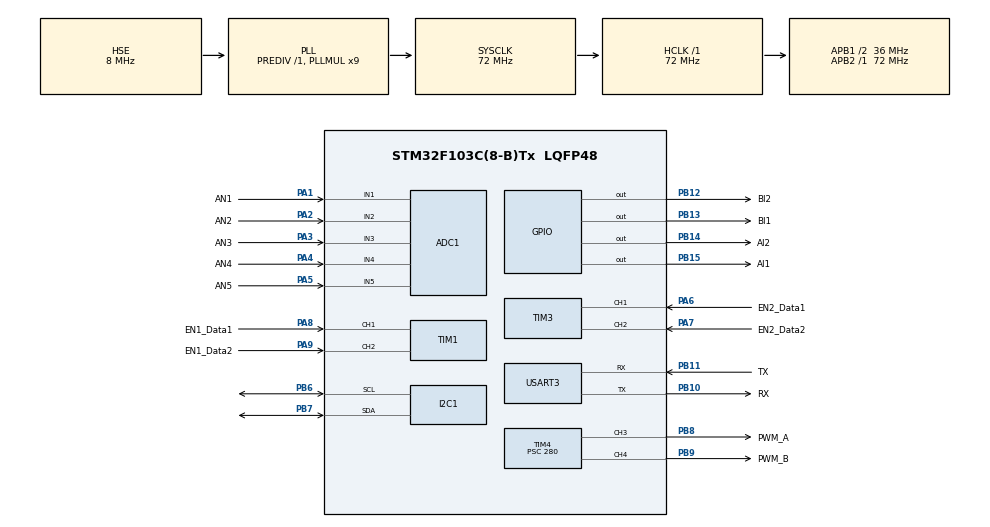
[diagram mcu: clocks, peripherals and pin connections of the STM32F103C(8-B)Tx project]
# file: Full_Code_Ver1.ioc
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ADC1.Channel-0\#ChannelRegularConversion=ADC_CHANNEL_1
ADC1.Channel-1\#ChannelRegularConversion=ADC_CHANNEL_2
ADC1.Channel-2\#ChannelRegularConversion=ADC_CHANNEL_3
ADC1.Channel-3\#ChannelRegularConversion=ADC_CHANNEL_4
ADC1.Channel-4\#ChannelRegularConversion=ADC_CHANNEL_5
ADC1.ContinuousConvMode=ENABLE
ADC1.NbrOfConversion=5
ADC1.NbrOfConversionFlag=1
ADC1.Rank-0\#ChannelRegularConversion=1
ADC1.Rank-1\#ChannelRegularConversion=2
ADC1.Rank-2\#ChannelRegularConversion=3
ADC1.Rank-3\#ChannelRegularConversion=4
ADC1.Rank-4\#ChannelRegularConversion=5
ADC1.SamplingTime-0\#ChannelRegularConversion=ADC_SAMPLETIME_13CYCLES_5
ADC1.SamplingTime-1\#ChannelRegularConversion=ADC_SAMPLETIME_13CYCLES_5
ADC1.SamplingTime-2\#ChannelRegularConversion=ADC_SAMPLETIME_13CYCLES_5
ADC1.SamplingTime-3\#ChannelRegularConversion=ADC_SAMPLETIME_13CYCLES_5
ADC1.SamplingTime-4\#ChannelRegularConversion=ADC_SAMPLETIME_13CYCLES_5
ADC1.master=1
Dma.ADC1.0.Direction=DMA_PERIPH_TO_MEMORY
Dma.ADC1.0.Instance=DMA1_Channel1
Dma.ADC1.0.MemDataAlignment=DMA_MDATAALIGN_HALFWORD
Dma.ADC1.0.MemInc=DMA_MINC_ENABLE
Dma.ADC1.0.Mode=DMA_CIRCULAR
Dma.ADC1.0.PeriphDataAlignment=DMA_PDATAALIGN_HALFWORD
Dma.ADC1.0.PeriphInc=DMA_PINC_DISABLE
Dma.ADC1.0.Priority=DMA_PRIORITY_LOW
Dma.Request0=ADC1
I2C1.I2C_Mode=I2C_Fast
Mcu.Family=STM32F1
Mcu.Name=STM32F103C(8-B)Tx
Mcu.Package=LQFP48
NVIC.DMA1_Channel1_IRQn=true\:0\:0\:false\:false\:true\:false\:true\:true
NVIC.PriorityGroup=NVIC_PRIORITYGROUP_4
NVIC.TIM2_IRQn=true\:0\:0\:false\:false\:true\:true\:true\:true
PA1.GPIO_Label=AN1
PA1.Signal=ADCx_IN1
PA13.Mode=Serial_Wire
PA13.Signal=SYS_JTMS-SWDIO
PA14.Mode=Serial_Wire
PA14.Signal=SYS_JTCK-SWCLK
PA2.GPIO_Label=AN2
PA2.Signal=ADCx_IN2
PA3.GPIO_Label=AN3
PA3.Signal=ADCx_IN3
PA4.GPIO_Label=AN4
PA4.Signal=ADCx_IN4
PA5.GPIO_Label=AN5
PA5.Signal=ADCx_IN5
PA6.GPIO_Label=EN2_Data1
PA6.Signal=S_TIM3_CH1
PA7.GPIO_Label=EN2_Data2
PA7.Signal=S_TIM3_CH2
PA8.GPIO_Label=EN1_Data1
PA8.Signal=S_TIM1_CH1
PA9.GPIO_Label=EN1_Data2
PA9.Signal=S_TIM1_CH2
PB10.GPIO_Label=RX
PB10.Mode=Asynchronous
PB10.Signal=USART3_TX
PB11.GPIO_Label=TX
PB11.Mode=Asynchronous
PB11.Signal=USART3_RX
PB12.GPIO_Label=BI2
PB12.Signal=GPIO_Output
PB13.GPIO_Label=BI1
PB13.Signal=GPIO_Output
PB14.GPIO_Label=AI2
PB14.Signal=GPIO_Output
PB15.GPIO_Label=AI1
PB15.Signal=GPIO_Output
PB6.Mode=I2C
PB6.Signal=I2C1_SCL
PB7.Mode=I2C
PB7.Signal=I2C1_SDA
PB8.GPIO_Label=PWM_A
PB8.Signal=S_TIM4_CH3
PB9.GPIO_Label=PWM_B
PB9.Signal=S_TIM4_CH4
PD0-OSC_IN.Mode=HSE-External-Oscillator
PD0-OSC_IN.Signal=RCC_OSC_IN
PD1-OSC_OUT.Mode=HSE-External-Oscillator
PD1-OSC_OUT.Signal=RCC_OSC_OUT
ProjectManager.HeapSize=0x200
ProjectManager.StackSize=0x400
ProjectManager.TargetToolchain=STM32CubeIDE
RCC.ADCPresc=RCC_ADCPCLK2_DIV6
RCC.AHBFreq_Value=72000000
RCC.APB1CLKDivider=RCC_HCLK_DIV2
RCC.APB1Freq_Value=36000000
RCC.APB1TimFreq_Value=72000000
RCC.APB2Freq_Value=72000000
RCC.APB2TimFreq_Value=72000000
RCC.HCLKFreq_Value=72000000
RCC.PLLMUL=RCC_PLL_MUL9
RCC.PLLSourceVirtual=RCC_PLLSOURCE_HSE
RCC.SYSCLKFreq_VALUE=72000000
RCC.SYSCLKSource=RCC_SYSCLKSOURCE_PLLCLK
RCC.USBFreq_Value=72000000
SH.ADCx_IN1.0=ADC1_IN1,IN1
SH.ADCx_IN2.0=ADC1_IN2,IN2
SH.ADCx_IN3.0=ADC1_IN3,IN3
SH.ADCx_IN4.0=ADC1_IN4,IN4
SH.ADCx_IN5.0=ADC1_IN5,IN5
SH.S_TIM1_CH1.0=TIM1_CH1,Encoder_Interface
SH.S_TIM1_CH2.0=TIM1_CH2,Encoder_Interface
SH.S_TIM3_CH1.0=TIM3_CH1,Encoder_Interface
SH.S_TIM3_CH2.0=TIM3_CH2,Encoder_Interface
SH.S_TIM4_CH3.0=TIM4_CH3,PWM Generation3 CH3
SH.S_TIM4_CH4.0=TIM4_CH4,PWM Generation4 CH4
TIM1.EncoderMode=TIM_ENCODERMODE_TI12
TIM1.IC1Polarity=TIM_ICPOLARITY_FALLING
TIM1.IC2Polarity=TIM_ICPOLARITY_FALLING
TIM2.Period=99
TIM2.Prescaler=7199
TIM3.EncoderMode=TIM_ENCODERMODE_TI12
TIM3.IC1Polarity=TIM_ICPOLARITY_FALLING
TIM3.IC2Polarity=TIM_ICPOLARITY_FALLING
TIM4.Channel-PWM\ Generation3\ CH3=TIM_CHANNEL_3
TIM4.Channel-PWM\ Generation4\ CH4=TIM_CHANNEL_4
TIM4.Period=255
TIM4.Prescaler=280
USART3.VirtualMode=VM_ASYNC
VP_TIM2_VS_ClockSourceINT.Mode=Internal
board=custom

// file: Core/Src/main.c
/* USER CODE BEGIN Header */
/**
  ******************************************************************************
  * @file           : main.c
  * @brief          : Main program body
  ******************************************************************************
  * @attention
  *
  * Copyright (c) 2025 STMicroelectronics.
  * All rights reserved.
  *
  * This software is licensed under terms that can be found in the LICENSE file
  * in the root directory of this software component.
  * If no LICENSE file comes with this software, it is provided AS-IS.
  *
  ******************************************************************************
  */
/* USER CODE END Header */
#include "main.h"

/* USER CODE BEGIN Includes */
#include <stdlib.h>
#include <stdint.h>
#include <stdio.h>
#include <stdbool.h>
#include <math.h>

#include "params.h"
#include "get_e2_error.h"
#include "pid_line.h"
#include "pid_motor.h"
/* USER CODE END Includes */

/* USER CODE BEGIN PD */
#define T_SAMP 0.01f
#define PULSE_2_RPM (60.0f) / (11.0f * 30.0f * 4.0f * T_SAMP)
#define PI 3.14
/* USER CODE END PD */

ADC_HandleTypeDef hadc1;
DMA_HandleTypeDef hdma_adc1;

I2C_HandleTypeDef hi2c1;

TIM_HandleTypeDef htim1;
TIM_HandleTypeDef htim2;
TIM_HandleTypeDef htim3;
TIM_HandleTypeDef htim4;

UART_HandleTypeDef huart3;

/* USER CODE BEGIN PV */

// Define the buffer for storing ADC readout values
#define DATA_LENGTH 5
uint16_t data_buffer[DATA_LENGTH];

// Variables for estimating the Motors' speeds
int16_t position_motor_1 = 0, old_position_motor_1 = 0;
int pulse_motor_1 = 0;

int16_t position_motor_2 = 0, old_position_motor_2 = 0;
int pulse_motor_2 = 0;

// Variables for calculating Lyapunov-based tracking algorithm
volatile float prev_e1 = 0, curr_e1 = 0;
volatile float prev_e2 = 0, curr_e2 = 0;
volatile float prev_e3 = 0, curr_e3 = 0;

volatile float prev_xM = 0, curr_xM = 0;
volatile float prev_yM = 0, curr_yM = 0;

volatile float prev_thetaM = PI, curr_thetaM = PI;

volatile float prev_xC = 0, curr_xC = 0;
volatile float prev_yC = 0, curr_yC = 0;
volatile float prev_thetaC = PI, curr_thetaC = PI;

volatile float prev_xR = 0, curr_xR = 0;
volatile float prev_yR = 0, curr_yR = 0;
volatile float prev_thetaR = PI, curr_thetaR = PI;

volatile float prev_vM = 0, prev_wM = 0;
volatile float vR = 0;
volatile float wR = 0;

volatile uint8_t time_ratio = 0;

// Variables for computing PI Speed Controller
volatile float* w_right = 0, w_left = 0;

volatile int16_t e1R = 0, e0R = 0;
volatile int16_t v1R = 0, v0R = 0;

volatile int16_t e1L = 0, e0L = 0;
volatile int16_t v1L = 0, v0L = 0;

volatile int16_t u0R = 0, u0L = 0;

volatile uint16_t actR = 0, actL = 0;

// Flags definition
volatile bool is_delivery_area = false;
volatile bool yes_or_no_good = false;
volatile bool is_phase_3 = false;
volatile bool stop_for_package = false;

//volatile uint16_t avoidance_count = 0;
//volatile uint16_t avoidance_count_phase_3 = 0;

/* USER CODE END PV */

void SystemClock_Config(void);
static void MX_GPIO_Init(void);
static void MX_DMA_Init(void);
static void MX_ADC1_Init(void);
static void MX_TIM1_Init(void);
static void MX_TIM3_Init(void);
static void MX_TIM4_Init(void);
static void MX_TIM2_Init(void);
static void MX_I2C1_Init(void);
static void MX_USART3_UART_Init(void);

/* USER CODE BEGIN 0 */

	/* MOTOR DIRECTION */
void CW_Motor_L(){
		HAL_GPIO_WritePin (GPIOB, GPIO_PIN_7, GPIO_PIN_RESET);
		HAL_GPIO_WritePin (GPIOB, GPIO_PIN_8, GPIO_PIN_SET);
}
void CW_Motor_R(){
		HAL_GPIO_WritePin (GPIOB, GPIO_PIN_4, GPIO_PIN_RESET);
		HAL_GPIO_WritePin (GPIOB, GPIO_PIN_3, GPIO_PIN_SET);
}
void CCW_Motor_L(){
		HAL_GPIO_WritePin (GPIOB, GPIO_PIN_7, GPIO_PIN_SET);
		HAL_GPIO_WritePin (GPIOB, GPIO_PIN_8, GPIO_PIN_RESET);
}
void CCW_Motor_R(){
		HAL_GPIO_WritePin (GPIOB, GPIO_PIN_4, GPIO_PIN_SET);
		HAL_GPIO_WritePin (GPIOB, GPIO_PIN_3, GPIO_PIN_RESET);
}
void stop_Motor_L(){
	HAL_GPIO_WritePin (GPIOB, GPIO_PIN_7, GPIO_PIN_RESET);
	HAL_GPIO_WritePin (GPIOB, GPIO_PIN_8, GPIO_PIN_RESET);
}
void stop_Motor_R(){
	HAL_GPIO_WritePin (GPIOB, GPIO_PIN_4, GPIO_PIN_RESET);
	HAL_GPIO_WritePin (GPIOB, GPIO_PIN_3, GPIO_PIN_RESET);
}

void HAL_TIM_PeriodElapsedCallback(TIM_HandleTypeDef *htim)
{
	if (htim->Instance == TIM2)
	{

	}
}

/* USER CODE END 0 */

int main(void)
{

  /* MCU Configuration--------------------------------------------------------*/

  /* Reset of all peripherals, Initializes the Flash interface and the Systick. */
  HAL_Init();

  /* Configure the system clock */
  SystemClock_Config();

  /* Initialize all configured peripherals */
  MX_GPIO_Init();
  MX_DMA_Init();
  MX_ADC1_Init();
  MX_TIM1_Init();
  MX_TIM3_Init();
  MX_TIM4_Init();
  MX_TIM2_Init();
  MX_I2C1_Init();
  MX_USART3_UART_Init();
  /* USER CODE BEGIN 2 */
  HAL_TIM_Base_Start_IT(&htim2);
  HAL_TIM_PWM_Start(&htim4, TIM_CHANNEL_3);
  HAL_TIM_PWM_Start(&htim4, TIM_CHANNEL_4);
  HAL_TIM_Encoder_Start(&htim1, TIM_CHANNEL_ALL);
  HAL_TIM_Encoder_Start(&htim3, TIM_CHANNEL_ALL);
  HAL_ADC_Start_DMA(&hadc1, (uint32_t*)data_buffer, DATA_LENGTH);
  /* USER CODE END 2 */

  /* Infinite loop */
  while (1)
  {

  }
}

void SystemClock_Config(void)
{
  RCC_OscInitTypeDef RCC_OscInitStruct = {0};
  RCC_ClkInitTypeDef RCC_ClkInitStruct = {0};
  RCC_PeriphCLKInitTypeDef PeriphClkInit = {0};

  /** Initializes the RCC Oscillators according to the specified parameters
  * in the RCC_OscInitTypeDef structure.
  */
  RCC_OscInitStruct.OscillatorType = RCC_OSCILLATORTYPE_HSE;
  RCC_OscInitStruct.HSEState = RCC_HSE_ON;
  RCC_OscInitStruct.HSEPredivValue = RCC_HSE_PREDIV_DIV1;
  RCC_OscInitStruct.HSIState = RCC_HSI_ON;
  RCC_OscInitStruct.PLL.PLLState = RCC_PLL_ON;
  RCC_OscInitStruct.PLL.PLLSource = RCC_PLLSOURCE_HSE;
  RCC_OscInitStruct.PLL.PLLMUL = RCC_PLL_MUL9;
  if (HAL_RCC_OscConfig(&RCC_OscInitStruct) != HAL_OK)
  {
    Error_Handler();
  }

  /** Initializes the CPU, AHB and APB buses clocks
  */
  RCC_ClkInitStruct.ClockType = RCC_CLOCKTYPE_HCLK|RCC_CLOCKTYPE_SYSCLK
                              |RCC_CLOCKTYPE_PCLK1|RCC_CLOCKTYPE_PCLK2;
  RCC_ClkInitStruct.SYSCLKSource = RCC_SYSCLKSOURCE_PLLCLK;
  RCC_ClkInitStruct.AHBCLKDivider = RCC_SYSCLK_DIV1;
  RCC_ClkInitStruct.APB1CLKDivider = RCC_HCLK_DIV2;
  RCC_ClkInitStruct.APB2CLKDivider = RCC_HCLK_DIV1;

  if (HAL_RCC_ClockConfig(&RCC_ClkInitStruct, FLASH_LATENCY_2) != HAL_OK)
  {
    Error_Handler();
  }
  PeriphClkInit.PeriphClockSelection = RCC_PERIPHCLK_ADC;
  PeriphClkInit.AdcClockSelection = RCC_ADCPCLK2_DIV6;
  if (HAL_RCCEx_PeriphCLKConfig(&PeriphClkInit) != HAL_OK)
  {
    Error_Handler();
  }
}

static void MX_ADC1_Init(void)
{

  ADC_ChannelConfTypeDef sConfig = {0};

  /** Common config
  */
  hadc1.Instance = ADC1;
  hadc1.Init.ScanConvMode = ADC_SCAN_ENABLE;
  hadc1.Init.ContinuousConvMode = ENABLE;
  hadc1.Init.DiscontinuousConvMode = DISABLE;
  hadc1.Init.ExternalTrigConv = ADC_SOFTWARE_START;
  hadc1.Init.DataAlign = ADC_DATAALIGN_RIGHT;
  hadc1.Init.NbrOfConversion = 5;
  if (HAL_ADC_Init(&hadc1) != HAL_OK)
  {
    Error_Handler();
  }

  /** Configure Regular Channel
  */
  sConfig.Channel = ADC_CHANNEL_1;
  sConfig.Rank = ADC_REGULAR_RANK_1;
  sConfig.SamplingTime = ADC_SAMPLETIME_13CYCLES_5;
  if (HAL_ADC_ConfigChannel(&hadc1, &sConfig) != HAL_OK)
  {
    Error_Handler();
  }

  /** Configure Regular Channel
  */
  sConfig.Channel = ADC_CHANNEL_2;
  sConfig.Rank = ADC_REGULAR_RANK_2;
  if (HAL_ADC_ConfigChannel(&hadc1, &sConfig) != HAL_OK)
  {
    Error_Handler();
  }

  /** Configure Regular Channel
  */
  sConfig.Channel = ADC_CHANNEL_3;
  sConfig.Rank = ADC_REGULAR_RANK_3;
  if (HAL_ADC_ConfigChannel(&hadc1, &sConfig) != HAL_OK)
  {
    Error_Handler();
  }

  /** Configure Regular Channel
  */
  sConfig.Channel = ADC_CHANNEL_4;
  sConfig.Rank = ADC_REGULAR_RANK_4;
  if (HAL_ADC_ConfigChannel(&hadc1, &sConfig) != HAL_OK)
  {
    Error_Handler();
  }

  /** Configure Regular Channel
  */
  sConfig.Channel = ADC_CHANNEL_5;
  sConfig.Rank = ADC_REGULAR_RANK_5;
  if (HAL_ADC_ConfigChannel(&hadc1, &sConfig) != HAL_OK)
  {
    Error_Handler();
  }

}

static void MX_I2C1_Init(void)
{

  hi2c1.Instance = I2C1;
  hi2c1.Init.ClockSpeed = 400000;
  hi2c1.Init.DutyCycle = I2C_DUTYCYCLE_2;
  hi2c1.Init.OwnAddress1 = 0;
  hi2c1.Init.AddressingMode = I2C_ADDRESSINGMODE_7BIT;
  hi2c1.Init.DualAddressMode = I2C_DUALADDRESS_DISABLE;
  hi2c1.Init.OwnAddress2 = 0;
  hi2c1.Init.GeneralCallMode = I2C_GENERALCALL_DISABLE;
  hi2c1.Init.NoStretchMode = I2C_NOSTRETCH_DISABLE;
  if (HAL_I2C_Init(&hi2c1) != HAL_OK)
  {
    Error_Handler();
  }

}

static void MX_TIM1_Init(void)
{

  TIM_Encoder_InitTypeDef sConfig = {0};
  TIM_MasterConfigTypeDef sMasterConfig = {0};

  htim1.Instance = TIM1;
  htim1.Init.Prescaler = 0;
  htim1.Init.CounterMode = TIM_COUNTERMODE_UP;
  htim1.Init.Period = 65535;
  htim1.Init.ClockDivision = TIM_CLOCKDIVISION_DIV1;
  htim1.Init.RepetitionCounter = 0;
  htim1.Init.AutoReloadPreload = TIM_AUTORELOAD_PRELOAD_DISABLE;
  sConfig.EncoderMode = TIM_ENCODERMODE_TI12;
  sConfig.IC1Polarity = TIM_ICPOLARITY_FALLING;
  sConfig.IC1Selection = TIM_ICSELECTION_DIRECTTI;
  sConfig.IC1Prescaler = TIM_ICPSC_DIV1;
  sConfig.IC1Filter = 0;
  sConfig.IC2Polarity = TIM_ICPOLARITY_FALLING;
  sConfig.IC2Selection = TIM_ICSELECTION_DIRECTTI;
  sConfig.IC2Prescaler = TIM_ICPSC_DIV1;
  sConfig.IC2Filter = 0;
  if (HAL_TIM_Encoder_Init(&htim1, &sConfig) != HAL_OK)
  {
    Error_Handler();
  }
  sMasterConfig.MasterOutputTrigger = TIM_TRGO_RESET;
  sMasterConfig.MasterSlaveMode = TIM_MASTERSLAVEMODE_DISABLE;
  if (HAL_TIMEx_MasterConfigSynchronization(&htim1, &sMasterConfig) != HAL_OK)
  {
    Error_Handler();
  }

}

static void MX_TIM2_Init(void)
{

  TIM_ClockConfigTypeDef sClockSourceConfig = {0};
  TIM_MasterConfigTypeDef sMasterConfig = {0};

  htim2.Instance = TIM2;
  htim2.Init.Prescaler = 7199;
  htim2.Init.CounterMode = TIM_COUNTERMODE_UP;
  htim2.Init.Period = 99;
  htim2.Init.ClockDivision = TIM_CLOCKDIVISION_DIV1;
  htim2.Init.AutoReloadPreload = TIM_AUTORELOAD_PRELOAD_DISABLE;
  if (HAL_TIM_Base_Init(&htim2) != HAL_OK)
  {
    Error_Handler();
  }
  sClockSourceConfig.ClockSource = TIM_CLOCKSOURCE_INTERNAL;
  if (HAL_TIM_ConfigClockSource(&htim2, &sClockSourceConfig) != HAL_OK)
  {
    Error_Handler();
  }
  sMasterConfig.MasterOutputTrigger = TIM_TRGO_RESET;
  sMasterConfig.MasterSlaveMode = TIM_MASTERSLAVEMODE_DISABLE;
  if (HAL_TIMEx_MasterConfigSynchronization(&htim2, &sMasterConfig) != HAL_OK)
  {
    Error_Handler();
  }

}

static void MX_TIM3_Init(void)
{

  TIM_Encoder_InitTypeDef sConfig = {0};
  TIM_MasterConfigTypeDef sMasterConfig = {0};

  htim3.Instance = TIM3;
  htim3.Init.Prescaler = 0;
  htim3.Init.CounterMode = TIM_COUNTERMODE_UP;
  htim3.Init.Period = 65535;
  htim3.Init.ClockDivision = TIM_CLOCKDIVISION_DIV1;
  htim3.Init.AutoReloadPreload = TIM_AUTORELOAD_PRELOAD_DISABLE;
  sConfig.EncoderMode = TIM_ENCODERMODE_TI12;
  sConfig.IC1Polarity = TIM_ICPOLARITY_FALLING;
  sConfig.IC1Selection = TIM_ICSELECTION_DIRECTTI;
  sConfig.IC1Prescaler = TIM_ICPSC_DIV1;
  sConfig.IC1Filter = 0;
  sConfig.IC2Polarity = TIM_ICPOLARITY_FALLING;
  sConfig.IC2Selection = TIM_ICSELECTION_DIRECTTI;
  sConfig.IC2Prescaler = TIM_ICPSC_DIV1;
  sConfig.IC2Filter = 0;
  if (HAL_TIM_Encoder_Init(&htim3, &sConfig) != HAL_OK)
  {
    Error_Handler();
  }
  sMasterConfig.MasterOutputTrigger = TIM_TRGO_RESET;
  sMasterConfig.MasterSlaveMode = TIM_MASTERSLAVEMODE_DISABLE;
  if (HAL_TIMEx_MasterConfigSynchronization(&htim3, &sMasterConfig) != HAL_OK)
  {
    Error_Handler();
  }

}

static void MX_TIM4_Init(void)
{

  TIM_MasterConfigTypeDef sMasterConfig = {0};
  TIM_OC_InitTypeDef sConfigOC = {0};

  htim4.Instance = TIM4;
  htim4.Init.Prescaler = 280;
  htim4.Init.CounterMode = TIM_COUNTERMODE_UP;
  htim4.Init.Period = 255;
  htim4.Init.ClockDivision = TIM_CLOCKDIVISION_DIV1;
  htim4.Init.AutoReloadPreload = TIM_AUTORELOAD_PRELOAD_DISABLE;
  if (HAL_TIM_PWM_Init(&htim4) != HAL_OK)
  {
    Error_Handler();
  }
  sMasterConfig.MasterOutputTrigger = TIM_TRGO_RESET;
  sMasterConfig.MasterSlaveMode = TIM_MASTERSLAVEMODE_DISABLE;
  if (HAL_TIMEx_MasterConfigSynchronization(&htim4, &sMasterConfig) != HAL_OK)
  {
    Error_Handler();
  }
  sConfigOC.OCMode = TIM_OCMODE_PWM1;
  sConfigOC.Pulse = 0;
  sConfigOC.OCPolarity = TIM_OCPOLARITY_HIGH;
  sConfigOC.OCFastMode = TIM_OCFAST_DISABLE;
  if (HAL_TIM_PWM_ConfigChannel(&htim4, &sConfigOC, TIM_CHANNEL_3) != HAL_OK)
  {
    Error_Handler();
  }
  if (HAL_TIM_PWM_ConfigChannel(&htim4, &sConfigOC, TIM_CHANNEL_4) != HAL_OK)
  {
    Error_Handler();
  }
  HAL_TIM_MspPostInit(&htim4);

}

static void MX_USART3_UART_Init(void)
{

  huart3.Instance = USART3;
  huart3.Init.BaudRate = 115200;
  huart3.Init.WordLength = UART_WORDLENGTH_8B;
  huart3.Init.StopBits = UART_STOPBITS_1;
  huart3.Init.Parity = UART_PARITY_NONE;
  huart3.Init.Mode = UART_MODE_TX_RX;
  huart3.Init.HwFlowCtl = UART_HWCONTROL_NONE;
  huart3.Init.OverSampling = UART_OVERSAMPLING_16;
  if (HAL_UART_Init(&huart3) != HAL_OK)
  {
    Error_Handler();
  }

}

static void MX_DMA_Init(void)
{

  /* DMA controller clock enable */
  __HAL_RCC_DMA1_CLK_ENABLE();

  /* DMA interrupt init */
  /* DMA1_Channel1_IRQn interrupt configuration */
  HAL_NVIC_SetPriority(DMA1_Channel1_IRQn, 0, 0);
  HAL_NVIC_EnableIRQ(DMA1_Channel1_IRQn);

}

static void MX_GPIO_Init(void)
{
  GPIO_InitTypeDef GPIO_InitStruct = {0};

  /* GPIO Ports Clock Enable */
  __HAL_RCC_GPIOD_CLK_ENABLE();
  __HAL_RCC_GPIOA_CLK_ENABLE();
  __HAL_RCC_GPIOB_CLK_ENABLE();

  /*Configure GPIO pin Output Level */
  HAL_GPIO_WritePin(GPIOB, BI2_Pin|BI1_Pin|AI2_Pin|AI1_Pin, GPIO_PIN_RESET);

  /*Configure GPIO pins : BI2_Pin BI1_Pin AI2_Pin AI1_Pin */
  GPIO_InitStruct.Pin = BI2_Pin|BI1_Pin|AI2_Pin|AI1_Pin;
  GPIO_InitStruct.Mode = GPIO_MODE_OUTPUT_PP;
  GPIO_InitStruct.Pull = GPIO_NOPULL;
  GPIO_InitStruct.Speed = GPIO_SPEED_FREQ_LOW;
  HAL_GPIO_Init(GPIOB, &GPIO_InitStruct);

}

void Error_Handler(void)
{
  __disable_irq();
  while (1)
  {
  }
}
